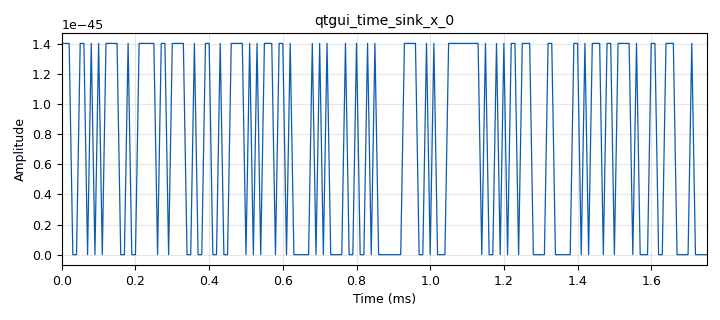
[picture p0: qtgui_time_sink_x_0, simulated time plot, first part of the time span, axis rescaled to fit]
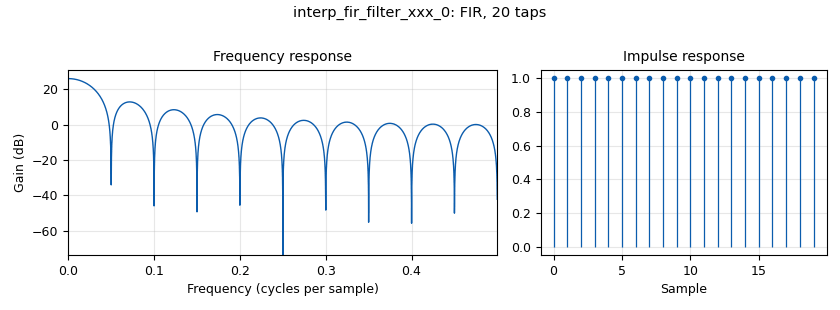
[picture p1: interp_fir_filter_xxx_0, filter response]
options:
  parameters:
    category: Custom
    description: IQ_tutorial_QPSK
    generate_options: qt_gui
    id: IQ_tutorial_QPSK
    output_language: python
    title: QPSK
  states: {}

blocks:
- name: bit_rate
  id: variable
  parameters:
    value: '5000'
  states: {}
- name: delta_f_over_f0
  id: variable_qtgui_range
  parameters:
    comment: Small delta_f
    gui_hint: 0,2,1,1
    orient: Qt.Horizontal
    start: '-1.0e-4'
    step: '1.0e-6'
    stop: '1.0e-4'
    value: '0'
  states: {}
- name: noise
  id: variable_qtgui_range
  parameters:
    gui_hint: 0,0,1,1
    label: Noise
    orient: Qt.Horizontal
    start: '0'
    step: '0.01'
    stop: '0.2'
    value: '0'
  states: {}
- name: samp_rate
  id: variable
  parameters:
    value: bit_rate*sample_per_bit
  states: {}
- name: sample_per_bit
  id: variable
  parameters:
    value: '20'
  states: {}
- name: analog_random_source_x_0_0
  id: analog_random_source_x
  parameters:
    max: '2'
    min: '0'
    num_samps: '1000'
    repeat: 'True'
    type: int
  states: {}
- name: blocks_add_const_vxx_0
  id: blocks_add_const_vxx
  parameters:
    const: '-48'
    type: float
  states: {}
- name: blocks_add_const_vxx_0_0
  id: blocks_add_const_vxx
  parameters:
    const: '-1-1j'
    type: complex
  states: {}
- name: blocks_add_const_vxx_0_1
  id: blocks_add_const_vxx
  parameters:
    const: '-48'
    type: float
  states: {}
- name: blocks_char_to_float_0_0_0
  id: blocks_char_to_float
  parameters:
    scale: '1'
  states: {}
- name: blocks_char_to_float_0_0_0_0
  id: blocks_char_to_float
  parameters:
    scale: '1'
  states: {}
- name: blocks_file_source_0
  id: blocks_file_source
  parameters:
    file: /Users/gleb/Documents/mipt/network/GNURadio/gleb_qpsk_im
    repeat: 'True'
    type: byte
  states: {}
- name: blocks_file_source_0_0
  id: blocks_file_source
  parameters:
    file: /Users/gleb/Documents/mipt/network/GNURadio/gleb_qpsk_re
    repeat: 'True'
    type: byte
  states: {}
- name: blocks_float_to_complex_1
  id: blocks_float_to_complex
  parameters: {}
  states: {}
- name: blocks_multiply_const_vxx_0
  id: blocks_multiply_const_vxx
  parameters:
    const: '2'
    type: float
  states: {}
- name: blocks_multiply_const_vxx_0_0
  id: blocks_multiply_const_vxx
  parameters:
    const: '2'
    type: float
  states: {}
- name: blocks_throttle_1
  id: blocks_throttle
  parameters:
    samples_per_second: samp_rate
    type: complex
  states: {}
- name: channels_channel_model_0
  id: channels_channel_model
  parameters:
    epsilon: '1.0'
    freq_offset: delta_f_over_f0
    noise_voltage: noise
    seed: '0'
    taps: '1'
  states: {}
- name: interp_fir_filter_xxx_0
  id: interp_fir_filter_xxx
  parameters:
    interp: sample_per_bit
    taps: numpy.ones(sample_per_bit)
    type: ccc
  states: {}
- name: qtgui_const_sink_x_0
  id: qtgui_const_sink_x
  parameters:
    gui_hint: tab@0:0,0,1,1
    size: '100'
    style1: '1'
    type: complex
  states: {}
- name: qtgui_freq_sink_x_0
  id: qtgui_freq_sink_x
  parameters:
    bw: samp_rate
    fc: '0'
    fftsize: '1024'
    gui_hint: tab@1:0,0,1,1
    label1: Input signal
    type: complex
    wintype: firdes.WIN_BLACKMAN_hARRIS
    ymax: '0'
    ymin: '-60'
  states: {}
- name: qtgui_time_sink_x_0
  id: qtgui_time_sink_x
  parameters:
    size: '1024'
    srate: samp_rate
    type: float
  states: {}
- name: tab
  id: qtgui_tab_widget
  parameters:
    gui_hint: 1,0,1,3
    label0: Constellation (Time)
    label1: Spectrum
    num_tabs: '2'
  states: {}
- name: virtual_sink_0_0
  id: virtual_sink
  parameters:
    alias: QPSK
    stream_id: QPSK
  states: {}
- name: virtual_source_0
  id: virtual_source
  parameters:
    stream_id: QPSK
  states: {}

connections:
- [analog_random_source_x_0_0, '0', qtgui_time_sink_x_0, '0']
- [blocks_add_const_vxx_0, '0', blocks_multiply_const_vxx_0_0, '0']
- [blocks_add_const_vxx_0_0, '0', blocks_throttle_1, '0']
- [blocks_add_const_vxx_0_1, '0', blocks_multiply_const_vxx_0, '0']
- [blocks_char_to_float_0_0_0, '0', blocks_add_const_vxx_0, '0']
- [blocks_char_to_float_0_0_0_0, '0', blocks_add_const_vxx_0_1, '0']
- [blocks_file_source_0, '0', blocks_char_to_float_0_0_0, '0']
- [blocks_file_source_0_0, '0', blocks_char_to_float_0_0_0_0, '0']
- [blocks_float_to_complex_1, '0', blocks_add_const_vxx_0_0, '0']
- [blocks_multiply_const_vxx_0, '0', blocks_float_to_complex_1, '0']
- [blocks_multiply_const_vxx_0_0, '0', blocks_float_to_complex_1, '1']
- [blocks_throttle_1, '0', interp_fir_filter_xxx_0, '0']
- [channels_channel_model_0, '0', qtgui_const_sink_x_0, '0']
- [channels_channel_model_0, '0', qtgui_freq_sink_x_0, '0']
- [interp_fir_filter_xxx_0, '0', virtual_sink_0_0, '0']
- [virtual_source_0, '0', channels_channel_model_0, '0']

metadata:
  file_format: 1
